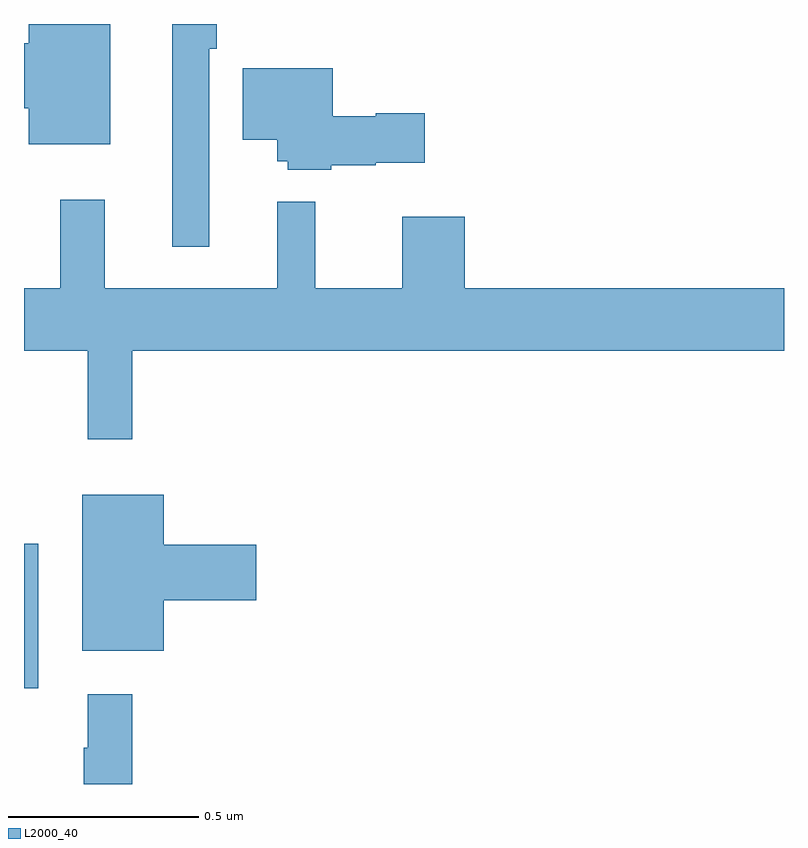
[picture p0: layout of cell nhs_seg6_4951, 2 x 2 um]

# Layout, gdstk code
import gdstk
lib = gdstk.Library(unit=1e-6, precision=1e-09)
def R(c, l, rs):  # rectangles x0, y0, x1, y1
    for r in rs: c.add(gdstk.rectangle(r[:2], r[2:], *l))
def P(c, l, *ps):  # polygons
    for p in ps: c.add(gdstk.Polygon(p, *l))
L2000_40 = (2000, 40)

nhs_seg6_4951 = lib.new_cell('nhs_seg6_4951')
R(nhs_seg6_4951, L2000_40, [(176,975.752,176.038,976.132)])
P(nhs_seg6_4951, L2000_40, [(176.487,977.435),(176.507,977.435),(176.507,977.5),(176.39,977.5),(176.39,976.914),(176.487,976.914)],
  [(176.227,977.5),(176.012,977.5),(176.012,977.45),(176,977.45),(176,977.278),(176.012,977.278),(176.012,977.183),(176.227,977.183)],
  [(176.808,977.128),(176.925,977.128),(176.925,977.135),(177.055,977.135),(177.055,977.265),(176.925,977.265),(176.925,977.257),(176.812,977.257),(176.812,977.383),(176.576,977.383),(176.576,977.195),(176.666,977.195),(176.666,977.139),(176.694,977.139),(176.694,977.117),(176.808,977.117)],
  [(176.996,976.993),(176.996,976.804),(176.766,976.804),(176.766,977.032),(176.666,977.032),(176.666,976.804),(176.213,976.804),(176.213,977.038),(176.095,977.038),(176.095,976.804),(176,976.804),(176,976.64),(176.168,976.64),(176.168,976.407),(176.285,976.407),(176.285,976.64),(178,976.64),(178,976.804),(177.16,976.804),(177.16,976.993)],
  [(176.368,975.983),(176.611,975.983),(176.611,976.13),(176.368,976.13),(176.368,976.261),(176.153,976.261),(176.153,975.851),(176.368,975.851)],
  [(176.285,975.736),(176.168,975.736),(176.168,975.596),(176.157,975.596),(176.157,975.5),(176.285,975.5)])

lib.write_gds('nhs_seg6_4951.gds')
